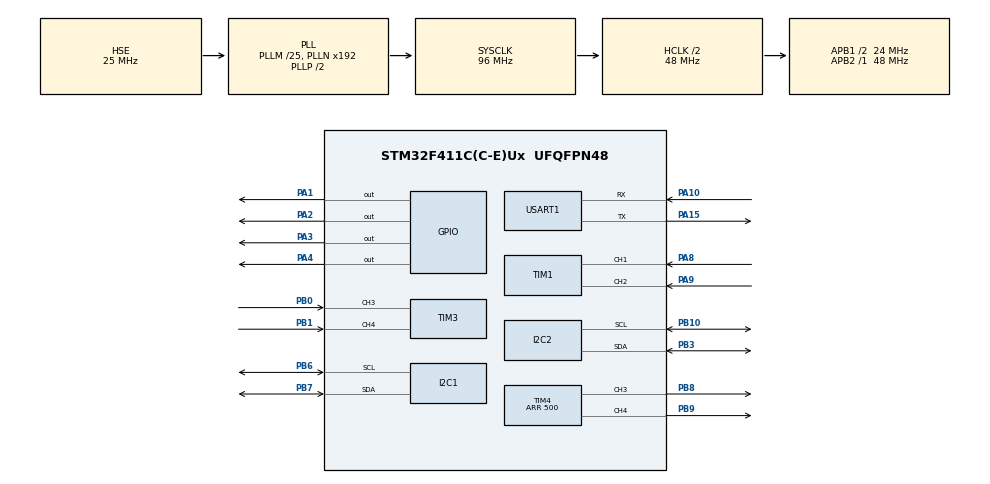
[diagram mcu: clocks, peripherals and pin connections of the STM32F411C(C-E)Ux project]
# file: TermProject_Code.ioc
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Mcu.Family=STM32F4
Mcu.Name=STM32F411C(C-E)Ux
Mcu.Package=UFQFPN48
NVIC.PriorityGroup=NVIC_PRIORITYGROUP_4
NVIC.TIM2_IRQn=true\:0\:0\:false\:false\:true\:true\:true\:true
NVIC.TIM3_IRQn=true\:0\:0\:false\:false\:true\:true\:true\:true
PA1.Signal=GPIO_Output
PA10.Mode=Asynchronous
PA10.Signal=USART1_RX
PA13.Mode=Serial_Wire
PA13.Signal=SYS_JTMS-SWDIO
PA14.Mode=Serial_Wire
PA14.Signal=SYS_JTCK-SWCLK
PA15.Mode=Asynchronous
PA15.Signal=USART1_TX
PA2.Signal=GPIO_Output
PA3.Signal=GPIO_Output
PA4.Signal=GPIO_Output
PA8.Signal=S_TIM1_CH1
PA9.Signal=S_TIM1_CH2
PB0.Signal=S_TIM3_CH3
PB1.Signal=S_TIM3_CH4
PB10.Mode=I2C
PB10.Signal=I2C2_SCL
PB3.Mode=I2C
PB3.Signal=I2C2_SDA
PB6.Mode=I2C
PB6.Signal=I2C1_SCL
PB7.Mode=I2C
PB7.Signal=I2C1_SDA
PB8.Signal=S_TIM4_CH3
PB9.Signal=S_TIM4_CH4
PH0\ -\ OSC_IN.Mode=HSE-External-Oscillator
PH0\ -\ OSC_IN.Signal=RCC_OSC_IN
PH1\ -\ OSC_OUT.Mode=HSE-External-Oscillator
PH1\ -\ OSC_OUT.Signal=RCC_OSC_OUT
ProjectManager.HeapSize=0x200
ProjectManager.StackSize=0x400
ProjectManager.TargetToolchain=STM32CubeIDE
RCC.48MHZClocksFreq_Value=48000000
RCC.AHBCLKDivider=RCC_SYSCLK_DIV2
RCC.AHBFreq_Value=48000000
RCC.APB1CLKDivider=RCC_HCLK_DIV2
RCC.APB1Freq_Value=24000000
RCC.APB1TimFreq_Value=48000000
RCC.APB2Freq_Value=48000000
RCC.APB2TimFreq_Value=48000000
RCC.CortexFreq_Value=48000000
RCC.HCLKFreq_Value=48000000
RCC.HSE_VALUE=25000000
RCC.HSI_VALUE=16000000
RCC.LSE_VALUE=32768
RCC.PLLM=25
RCC.PLLSourceVirtual=RCC_PLLSOURCE_HSE
RCC.SYSCLKFreq_VALUE=96000000
RCC.SYSCLKSource=RCC_SYSCLKSOURCE_PLLCLK
RCC.VCOOutputFreq_Value=192000000
SH.S_TIM1_CH1.0=TIM1_CH1,Encoder_Interface
SH.S_TIM1_CH2.0=TIM1_CH2,Encoder_Interface
SH.S_TIM3_CH3.0=TIM3_CH3,Input_Capture3_from_TI3
SH.S_TIM3_CH4.0=TIM3_CH4,Input_Capture4_from_TI4
SH.S_TIM4_CH3.0=TIM4_CH3,PWM Generation3 CH3
SH.S_TIM4_CH4.0=TIM4_CH4,PWM Generation4 CH4
TIM2.Period=1000000
TIM3.Channel-Input_Capture3_from_TI3=TIM_CHANNEL_3
TIM3.Channel-Input_Capture4_from_TI4=TIM_CHANNEL_4
TIM3.ICPolarity_CH3=TIM_INPUTCHANNELPOLARITY_BOTHEDGE
TIM3.ICPolarity_CH4=TIM_INPUTCHANNELPOLARITY_BOTHEDGE
TIM4.Channel-PWM\ Generation3\ CH3=TIM_CHANNEL_3
TIM4.Channel-PWM\ Generation4\ CH4=TIM_CHANNEL_4
TIM4.Period=500
USART1.VirtualMode=VM_ASYNC
VP_TIM2_VS_ClockSourceINT.Mode=Internal
board=custom

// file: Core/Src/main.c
/* USER CODE BEGIN Header */
/**
  ******************************************************************************
  * @file           : main.c
  * @brief          : Main program body
  ******************************************************************************
  * @attention
  *
  * Copyright (c) 2024 STMicroelectronics.
  * All rights reserved.
  *
  * This software is licensed under terms that can be found in the LICENSE file
  * in the root directory of this software component.
  * If no LICENSE file comes with this software, it is provided AS-IS.
  *
  ******************************************************************************
  */
/* USER CODE END Header */
#include "main.h"

/* USER CODE BEGIN Includes */

#include <stdio.h>
#include "math.h"
#include "bno055.h"
#include "bno055_stm32.h"
#include "pid.h"
#include "motor_driver.h"

/* USER CODE END Includes */

/* USER CODE BEGIN PTD */

PID_TypeDef VEL_PID;
PID_TypeDef ACCEL_PID;
PID_TypeDef PITCH_PID;

typedef struct{
	int16_t velocity;
	int64_t position;
	uint32_t last_counter_value;
}encoder_instance;

/* USER CODE END PTD */

I2C_HandleTypeDef hi2c1;
I2C_HandleTypeDef hi2c2;

TIM_HandleTypeDef htim1;
TIM_HandleTypeDef htim2;
TIM_HandleTypeDef htim3;
TIM_HandleTypeDef htim4;

UART_HandleTypeDef huart1;

/* USER CODE BEGIN PV */

int dc;
int dc2;
int test;
#define TIMCLOCK   48000000
#define TIMCLOCK2   48000000
#define PRESCALAR  0
uint32_t IC_Val1 = 0;
uint32_t IC_Val2 = 0;
uint32_t Difference = 0;
int Is_First_Captured = 0;
int ifc = 0;
uint32_t IC_Val12 = 0;
uint32_t IC_Val22 = 0;
uint32_t Difference2 = 0;
uint32_t usWidth = 0;
uint32_t usWidth2 = 0;

int n;
char buffer[50];

int BNO_SampleRate;

int Heading;
double Roll;

double Pitch, PITCH_PIDOut;

char AngleBuf[50];

int Vel_x_Cap;
int Vel_y_Cap;
int Vel_z_Cap;

int Vel_Capture = 0;

double Vel_total, VEL_PIDOut, Vel_Setpoint = 0;

int Vel_Setpoint_Factor;

char VelBuf[50];

double Accel_Total, ACC_PIDOut;

char AngleBuf[50];

motor_t mot1 = {.duty    = 0,
				  .channel = 3,
				  .timer = TIM4};
motor_t mot2 = {.duty    = 0,
				  .channel = 4,
    			  .timer = TIM4};

double encoder_ticks_1;
double encoder_ticks_2;
double first_t = 0;
double second_t;

double velocity = 0+
		698;

int duty;

double vel_setpoint = 0;

double SetPoint;
double Kp;
double Input;
double Output;

int Vel_Output;
int Angle_Output;
int Acc_Output;

double vel_gain = -30;
double ang_gain = 15;

double Diff;
double Acc_Diff;

double vel_offset = 91;

double first_error_vel = 0;
double first_error_ang = 0;
double second_error_vel;
double second_error_ang;

double Derivative_Vel;
double Derivative_Ang;

double vel_d_gain = 0.01;
double ang_d_gain = 0.01;

/* USER CODE END PV */

void SystemClock_Config(void);
static void MX_GPIO_Init(void);
static void MX_USART1_UART_Init(void);
static void MX_I2C1_Init(void);
static void MX_I2C2_Init(void);
static void MX_TIM3_Init(void);
static void MX_TIM4_Init(void);
static void MX_TIM1_Init(void);
static void MX_TIM2_Init(void);

int main(void)
{

  /* MCU Configuration--------------------------------------------------------*/

  /* Reset of all peripherals, Initializes the Flash interface and the Systick. */
  HAL_Init();

  /* Configure the system clock */
  SystemClock_Config();

  /* Initialize all configured peripherals */
  MX_GPIO_Init();
  MX_USART1_UART_Init();
  MX_I2C1_Init();
  MX_I2C2_Init();
  MX_TIM3_Init();
  MX_TIM4_Init();
  MX_TIM1_Init();
  MX_TIM2_Init();
  /* USER CODE BEGIN 2 */

  // Initialize BNO

  bno055_assignI2C(&hi2c2);
  bno055_setup();
  bno055_setOperationModeNDOF();

  // Initialize PID's ( NEED TO LOOK INTO SAMPLETIME AND STUFF FOR OUR MCU I THINK?)

  //PID_SetMode(&VEL_PID, _PID_MODE_AUTOMATIC);
  //PID_SetSampleTime(&VEL_PID, 500);
  //PID_SetOutputLimits(&VEL_PID, 1, 100);

  //PID(&VEL_PID, &Vel_total, &VEL_PIDOut, &Vel_Setpoint, 1, 0, 0, _PID_P_ON_E, _PID_CD_DIRECT);

//  PID_SetMode(&ACCEL_PID, _PID_MODE_AUTOMATIC);
//  PID_SetSampleTime(&ACCEL_PID, 500);
//  PID_SetOutputLimits(&ACCEL_PID, 1, 100);
//
//  PID(&ACCEL_PID, &Accel_Total, &ACC_PIDOut, &VEL_PIDOut, 1, 0, 0, _PID_P_ON_E, _PID_CD_DIRECT);
//
//  PID_SetMode(&PITCH_PID, _PID_MODE_AUTOMATIC);
//  PID_SetSampleTime(&PITCH_PID, 500);
//  PID_SetOutputLimits(&PITCH_PID, 250,500);
//
//  PID(&PITCH_PID, &Roll, &PITCH_PIDOut, &ACC_PIDOut, 1, 0, 0, _PID_P_ON_E, _PID_CD_DIRECT);

  HAL_TIM_Encoder_Start(&htim1, TIM_CHANNEL_ALL); // Enable Encoder mode on TIM3

  HAL_TIM_Base_Start_IT(&htim2);

  HAL_TIM_IC_Start_IT(&htim3, TIM_CHANNEL_3);  // Enable Interrupts for E-Stop
  HAL_TIM_IC_Start_IT(&htim3, TIM_CHANNEL_4);

  HAL_TIM_PWM_Start(&htim4, TIM_CHANNEL_3);    // Enable PWM for motor driver input
  HAL_TIM_PWM_Start(&htim4, TIM_CHANNEL_4);

  /* USER CODE END 2 */

  /* Infinite loop */
  while (1)
  {

    /* USER CODE BEGIN 3 */

	  //n = sprintf(buffer, "Chan 1 Width: %d \r\n", usWidth);
	  //HAL_UART_Transmit(&huart1,buffer,n,400);
//	  n = sprintf(buffer, "Chan 2 Width: %d \r\n", usWidth2);
//	  HAL_UART_Transmit(&huart1,buffer,n,400);
	  //HAL_Delay(250);

	  if ((usWidth2 > 500)&&(usWidth2 < 850)){
		  set_duty(&mot1,0);
		  exit(0);
	  }

	  // Code to set Velocity Setpoint to RC input

	  // Not sure if a negative vel setpoint will work or what magnitude
	  // will work for the controller but we can tune the factor with the controllers

	  //Vel_Setpoint = ((usWidth2 - 1500) / Vel_Setpoint_Factor);

	  // Get BNO Angles for PID
	  // (Really only need the pitch; Also depends on where we secure it)

	  bno055_vector_t a = bno055_getVectorEuler();
	  Heading = a.x;
	  Roll = a.y;
	  Pitch = a.z;

	  // Get BNO055 Linear Accel Data to Calculate Vel for PID
	  // And use Accel for other PID

	  bno055_vector_t v = bno055_getVectorLinearAccel();

	  Vel_x_Cap = v.x;  // First Captures for Vel Calcs
	  Vel_y_Cap = v.y;
	  Vel_z_Cap = v.z;

	  Accel_Total = sqrt(pow(Vel_x_Cap,2) + pow(Vel_y_Cap,2));

	  // Compute PID's

//	  PID_Compute(&VEL_PID);			// Might need to have some sort of delays in all of this
//	  PID_Compute(&ACCEL_PID);			// But the idea is there for sure
//	  PID_Compute(&PITCH_PID);

	  Vel_Output = (vel_gain*velocity);// + //Derivative_Vel;

	  Vel_Output = Vel_Output - vel_offset;

//	  Acc_Diff = Vel_Output - Vel_z_Cap;
//
//	  Acc_Output = acc_gain*Acc_Diff;

	  Diff = Vel_Output - Pitch;

	  Angle_Output = (ang_gain * Diff) + Derivative_Ang;

      duty = (int) -Angle_Output;   // Not sure about the types here for the pointer
	  if (duty < 100 && duty > 0){
		  duty = 100;
	  }
	  else if (duty > -100 && duty < 0){
		  duty = -100;
	  }
      // (It's only a warning but idk if it'll mess up the code)
	  set_duty(&mot1,duty);	// Set Duty Cycles to Output of Final PID in Cascade

  }
  /* USER CODE END 3 */
}

void SystemClock_Config(void)
{
  RCC_OscInitTypeDef RCC_OscInitStruct = {0};
  RCC_ClkInitTypeDef RCC_ClkInitStruct = {0};

  /** Configure the main internal regulator output voltage
  */
  __HAL_RCC_PWR_CLK_ENABLE();
  __HAL_PWR_VOLTAGESCALING_CONFIG(PWR_REGULATOR_VOLTAGE_SCALE1);

  /** Initializes the RCC Oscillators according to the specified parameters
  * in the RCC_OscInitTypeDef structure.
  */
  RCC_OscInitStruct.OscillatorType = RCC_OSCILLATORTYPE_HSE;
  RCC_OscInitStruct.HSEState = RCC_HSE_ON;
  RCC_OscInitStruct.PLL.PLLState = RCC_PLL_ON;
  RCC_OscInitStruct.PLL.PLLSource = RCC_PLLSOURCE_HSE;
  RCC_OscInitStruct.PLL.PLLM = 25;
  RCC_OscInitStruct.PLL.PLLN = 192;
  RCC_OscInitStruct.PLL.PLLP = RCC_PLLP_DIV2;
  RCC_OscInitStruct.PLL.PLLQ = 4;
  if (HAL_RCC_OscConfig(&RCC_OscInitStruct) != HAL_OK)
  {
    Error_Handler();
  }

  /** Initializes the CPU, AHB and APB buses clocks
  */
  RCC_ClkInitStruct.ClockType = RCC_CLOCKTYPE_HCLK|RCC_CLOCKTYPE_SYSCLK
                              |RCC_CLOCKTYPE_PCLK1|RCC_CLOCKTYPE_PCLK2;
  RCC_ClkInitStruct.SYSCLKSource = RCC_SYSCLKSOURCE_PLLCLK;
  RCC_ClkInitStruct.AHBCLKDivider = RCC_SYSCLK_DIV2;
  RCC_ClkInitStruct.APB1CLKDivider = RCC_HCLK_DIV2;
  RCC_ClkInitStruct.APB2CLKDivider = RCC_HCLK_DIV1;

  if (HAL_RCC_ClockConfig(&RCC_ClkInitStruct, FLASH_LATENCY_1) != HAL_OK)
  {
    Error_Handler();
  }
}

static void MX_I2C1_Init(void)
{

  hi2c1.Instance = I2C1;
  hi2c1.Init.ClockSpeed = 100000;
  hi2c1.Init.DutyCycle = I2C_DUTYCYCLE_2;
  hi2c1.Init.OwnAddress1 = 0;
  hi2c1.Init.AddressingMode = I2C_ADDRESSINGMODE_7BIT;
  hi2c1.Init.DualAddressMode = I2C_DUALADDRESS_DISABLE;
  hi2c1.Init.OwnAddress2 = 0;
  hi2c1.Init.GeneralCallMode = I2C_GENERALCALL_DISABLE;
  hi2c1.Init.NoStretchMode = I2C_NOSTRETCH_DISABLE;
  if (HAL_I2C_Init(&hi2c1) != HAL_OK)
  {
    Error_Handler();
  }

}

static void MX_I2C2_Init(void)
{

  hi2c2.Instance = I2C2;
  hi2c2.Init.ClockSpeed = 100000;
  hi2c2.Init.DutyCycle = I2C_DUTYCYCLE_2;
  hi2c2.Init.OwnAddress1 = 0;
  hi2c2.Init.AddressingMode = I2C_ADDRESSINGMODE_7BIT;
  hi2c2.Init.DualAddressMode = I2C_DUALADDRESS_DISABLE;
  hi2c2.Init.OwnAddress2 = 0;
  hi2c2.Init.GeneralCallMode = I2C_GENERALCALL_DISABLE;
  hi2c2.Init.NoStretchMode = I2C_NOSTRETCH_DISABLE;
  if (HAL_I2C_Init(&hi2c2) != HAL_OK)
  {
    Error_Handler();
  }

}

static void MX_TIM1_Init(void)
{

  TIM_Encoder_InitTypeDef sConfig = {0};
  TIM_MasterConfigTypeDef sMasterConfig = {0};

  htim1.Instance = TIM1;
  htim1.Init.Prescaler = 0;
  htim1.Init.CounterMode = TIM_COUNTERMODE_UP;
  htim1.Init.Period = 65535;
  htim1.Init.ClockDivision = TIM_CLOCKDIVISION_DIV1;
  htim1.Init.RepetitionCounter = 0;
  htim1.Init.AutoReloadPreload = TIM_AUTORELOAD_PRELOAD_DISABLE;
  sConfig.EncoderMode = TIM_ENCODERMODE_TI1;
  sConfig.IC1Polarity = TIM_ICPOLARITY_RISING;
  sConfig.IC1Selection = TIM_ICSELECTION_DIRECTTI;
  sConfig.IC1Prescaler = TIM_ICPSC_DIV1;
  sConfig.IC1Filter = 0;
  sConfig.IC2Polarity = TIM_ICPOLARITY_RISING;
  sConfig.IC2Selection = TIM_ICSELECTION_DIRECTTI;
  sConfig.IC2Prescaler = TIM_ICPSC_DIV1;
  sConfig.IC2Filter = 0;
  if (HAL_TIM_Encoder_Init(&htim1, &sConfig) != HAL_OK)
  {
    Error_Handler();
  }
  sMasterConfig.MasterOutputTrigger = TIM_TRGO_RESET;
  sMasterConfig.MasterSlaveMode = TIM_MASTERSLAVEMODE_DISABLE;
  if (HAL_TIMEx_MasterConfigSynchronization(&htim1, &sMasterConfig) != HAL_OK)
  {
    Error_Handler();
  }

}

static void MX_TIM2_Init(void)
{

  TIM_ClockConfigTypeDef sClockSourceConfig = {0};
  TIM_MasterConfigTypeDef sMasterConfig = {0};

  htim2.Instance = TIM2;
  htim2.Init.Prescaler = 0;
  htim2.Init.CounterMode = TIM_COUNTERMODE_UP;
  htim2.Init.Period = 1000000;
  htim2.Init.ClockDivision = TIM_CLOCKDIVISION_DIV1;
  htim2.Init.AutoReloadPreload = TIM_AUTORELOAD_PRELOAD_DISABLE;
  if (HAL_TIM_Base_Init(&htim2) != HAL_OK)
  {
    Error_Handler();
  }
  sClockSourceConfig.ClockSource = TIM_CLOCKSOURCE_INTERNAL;
  if (HAL_TIM_ConfigClockSource(&htim2, &sClockSourceConfig) != HAL_OK)
  {
    Error_Handler();
  }
  sMasterConfig.MasterOutputTrigger = TIM_TRGO_RESET;
  sMasterConfig.MasterSlaveMode = TIM_MASTERSLAVEMODE_DISABLE;
  if (HAL_TIMEx_MasterConfigSynchronization(&htim2, &sMasterConfig) != HAL_OK)
  {
    Error_Handler();
  }

}

static void MX_TIM3_Init(void)
{

  TIM_MasterConfigTypeDef sMasterConfig = {0};
  TIM_IC_InitTypeDef sConfigIC = {0};

  htim3.Instance = TIM3;
  htim3.Init.Prescaler = 0;
  htim3.Init.CounterMode = TIM_COUNTERMODE_UP;
  htim3.Init.Period = 65535;
  htim3.Init.ClockDivision = TIM_CLOCKDIVISION_DIV1;
  htim3.Init.AutoReloadPreload = TIM_AUTORELOAD_PRELOAD_DISABLE;
  if (HAL_TIM_IC_Init(&htim3) != HAL_OK)
  {
    Error_Handler();
  }
  sMasterConfig.MasterOutputTrigger = TIM_TRGO_RESET;
  sMasterConfig.MasterSlaveMode = TIM_MASTERSLAVEMODE_DISABLE;
  if (HAL_TIMEx_MasterConfigSynchronization(&htim3, &sMasterConfig) != HAL_OK)
  {
    Error_Handler();
  }
  sConfigIC.ICPolarity = TIM_INPUTCHANNELPOLARITY_BOTHEDGE;
  sConfigIC.ICSelection = TIM_ICSELECTION_DIRECTTI;
  sConfigIC.ICPrescaler = TIM_ICPSC_DIV1;
  sConfigIC.ICFilter = 0;
  if (HAL_TIM_IC_ConfigChannel(&htim3, &sConfigIC, TIM_CHANNEL_3) != HAL_OK)
  {
    Error_Handler();
  }
  if (HAL_TIM_IC_ConfigChannel(&htim3, &sConfigIC, TIM_CHANNEL_4) != HAL_OK)
  {
    Error_Handler();
  }

}

static void MX_TIM4_Init(void)
{

  TIM_MasterConfigTypeDef sMasterConfig = {0};
  TIM_OC_InitTypeDef sConfigOC = {0};

  htim4.Instance = TIM4;
  htim4.Init.Prescaler = 0;
  htim4.Init.CounterMode = TIM_COUNTERMODE_UP;
  htim4.Init.Period = 500;
  htim4.Init.ClockDivision = TIM_CLOCKDIVISION_DIV1;
  htim4.Init.AutoReloadPreload = TIM_AUTORELOAD_PRELOAD_DISABLE;
  if (HAL_TIM_PWM_Init(&htim4) != HAL_OK)
  {
    Error_Handler();
  }
  sMasterConfig.MasterOutputTrigger = TIM_TRGO_RESET;
  sMasterConfig.MasterSlaveMode = TIM_MASTERSLAVEMODE_DISABLE;
  if (HAL_TIMEx_MasterConfigSynchronization(&htim4, &sMasterConfig) != HAL_OK)
  {
    Error_Handler();
  }
  sConfigOC.OCMode = TIM_OCMODE_PWM1;
  sConfigOC.Pulse = 0;
  sConfigOC.OCPolarity = TIM_OCPOLARITY_HIGH;
  sConfigOC.OCFastMode = TIM_OCFAST_DISABLE;
  if (HAL_TIM_PWM_ConfigChannel(&htim4, &sConfigOC, TIM_CHANNEL_3) != HAL_OK)
  {
    Error_Handler();
  }
  if (HAL_TIM_PWM_ConfigChannel(&htim4, &sConfigOC, TIM_CHANNEL_4) != HAL_OK)
  {
    Error_Handler();
  }
  HAL_TIM_MspPostInit(&htim4);

}

static void MX_USART1_UART_Init(void)
{

  huart1.Instance = USART1;
  huart1.Init.BaudRate = 115200;
  huart1.Init.WordLength = UART_WORDLENGTH_8B;
  huart1.Init.StopBits = UART_STOPBITS_1;
  huart1.Init.Parity = UART_PARITY_NONE;
  huart1.Init.Mode = UART_MODE_TX_RX;
  huart1.Init.HwFlowCtl = UART_HWCONTROL_NONE;
  huart1.Init.OverSampling = UART_OVERSAMPLING_16;
  if (HAL_UART_Init(&huart1) != HAL_OK)
  {
    Error_Handler();
  }

}

static void MX_GPIO_Init(void)
{
  GPIO_InitTypeDef GPIO_InitStruct = {0};

  /* GPIO Ports Clock Enable */
  __HAL_RCC_GPIOH_CLK_ENABLE();
  __HAL_RCC_GPIOA_CLK_ENABLE();
  __HAL_RCC_GPIOB_CLK_ENABLE();

  /*Configure GPIO pin Output Level */
  HAL_GPIO_WritePin(GPIOA, GPIO_PIN_1|GPIO_PIN_2|GPIO_PIN_3|GPIO_PIN_4, GPIO_PIN_RESET);

  /*Configure GPIO pins : PA1 PA2 PA3 PA4 */
  GPIO_InitStruct.Pin = GPIO_PIN_1|GPIO_PIN_2|GPIO_PIN_3|GPIO_PIN_4;
  GPIO_InitStruct.Mode = GPIO_MODE_OUTPUT_PP;
  GPIO_InitStruct.Pull = GPIO_NOPULL;
  GPIO_InitStruct.Speed = GPIO_SPEED_FREQ_LOW;
  HAL_GPIO_Init(GPIOA, &GPIO_InitStruct);

}

/* USER CODE BEGIN 4 */

// IC Interrupt for E-Stop and its Calcs

double P_Controller(double *Kp, double *Error){

	Output = *Kp * *Error;

	return Output;
}

void HAL_TIM_IC_CaptureCallback(TIM_HandleTypeDef *htim){

	if (htim->Channel == HAL_TIM_ACTIVE_CHANNEL_3)  // if the interrupt source is channel1
			{
				if (Is_First_Captured==0) // if the first value is not captured
				{
					IC_Val1 = HAL_TIM_ReadCapturedValue(htim, TIM_CHANNEL_3); // read the first value
					Is_First_Captured = 1;  // set the first captured as true
				}

				else   // if the first is already captured
				{
					IC_Val2 = HAL_TIM_ReadCapturedValue(htim, TIM_CHANNEL_3);  // read second value

					Difference = IC_Val2-IC_Val1;

					float refClock = TIMCLOCK;
					float mFactor = 1000000/refClock;

					usWidth = Difference*mFactor;
					if (usWidth > 2050){
						IC_Val1 = IC_Val2;

					}
					else{
						//__HAL_TIM_SET_COUNTER(htim, 0);  // reset the counter
						Is_First_Captured = 0; // set it back to false
						dc = usWidth;
						dc = (dc - 1500)/2;
						//dc = 0;
						//set_duty(&mot1,dc);
					}

				}
			}
	if (htim->Channel == HAL_TIM_ACTIVE_CHANNEL_4)  // if the interrupt source is channel1
		{
			if (ifc==0) // if the first value is not captured
			{
				IC_Val12 = HAL_TIM_ReadCapturedValue(htim, TIM_CHANNEL_4); // read the first value
				ifc = 1;  // set the first captured as true
			}

			else   // if the first is already captured
			{
				IC_Val22 = HAL_TIM_ReadCapturedValue(htim, TIM_CHANNEL_4);  // read second value

				Difference2 = IC_Val22-IC_Val12;

				float refClock2 = TIMCLOCK2;
				float mFactor2 = 1000000/refClock2;

				usWidth2 = Difference2*mFactor2;
				if (usWidth2 > 2050){
					IC_Val12 = IC_Val22;

				}
				else{
					//__HAL_TIM_SET_COUNTER(htim, 0);  // reset the counter
					ifc = 0; // set it back to false
					dc2 = usWidth2;
					dc2 = (dc2 - 1500)/2;
					//dc = 0;
					//set_duty(&mot2,dc2);
				}
			}
		}
}

// Encoder Updating Function

void HAL_TIM_PeriodElapsedCallback(TIM_HandleTypeDef *htim)
{

	  if (first_t == 0){
		  first_t = HAL_GetTick();
		  encoder_ticks_1 = TIM1->CNT;

	  }
	  else{

		  second_t = HAL_GetTick();
		  encoder_ticks_2 = TIM1->CNT;
		  velocity = ((encoder_ticks_2-encoder_ticks_1)/(second_t-first_t))/20;
		  first_t = 0;

	  }
	  second_error_vel = first_error_vel;
	  first_error_vel = velocity;
	  second_error_ang = first_error_ang;
	  first_error_ang = Diff;
	  Derivative_Vel = vel_d_gain * ((second_error_vel-first_error_vel)/(0.001));
	  Derivative_Ang = ang_d_gain * ((second_error_ang-first_error_ang)/(0.001));
}
/* USER CODE END 4 */

void Error_Handler(void)
{
  __disable_irq();
  while (1)
  {
  }
}
